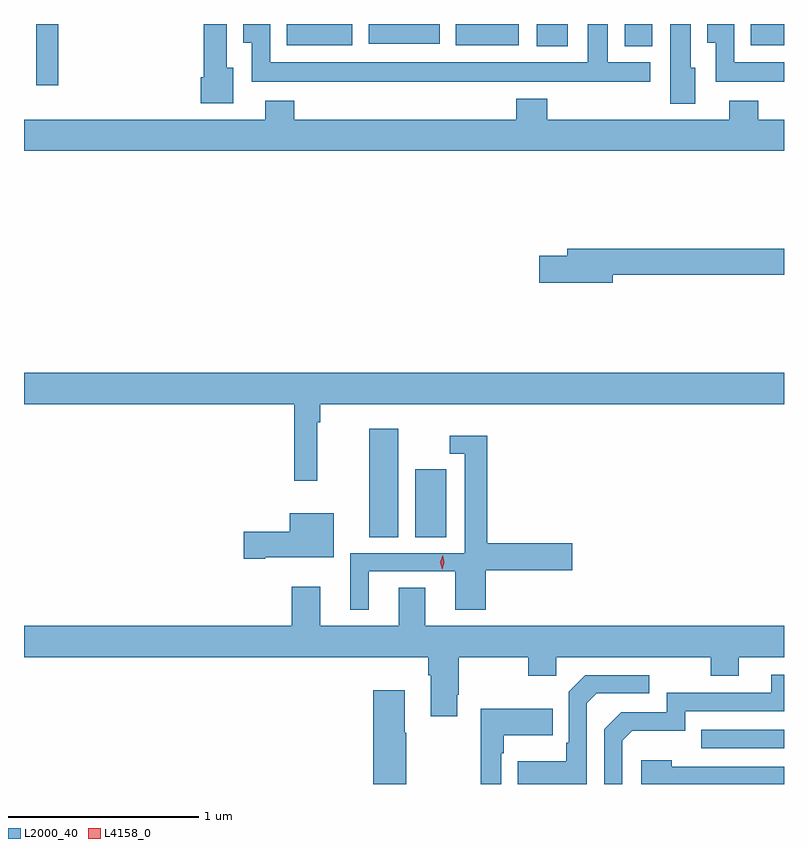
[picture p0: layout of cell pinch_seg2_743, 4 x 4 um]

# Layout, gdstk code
import gdstk
lib = gdstk.Library(unit=1e-6, precision=1e-09)
def R(c, l, rs):  # rectangles x0, y0, x1, y1
    for r in rs: c.add(gdstk.rectangle(r[:2], r[2:], *l))
def P(c, l, *ps):  # polygons
    for p in ps: c.add(gdstk.Polygon(p, *l))
L2000_40 = (2000, 40)
L4158_0 = (4158, 0)

pinch_seg2_743 = lib.new_cell('pinch_seg2_743')
R(pinch_seg2_743, L2000_40, [(881.029,629.841,881.465,629.937), (879.281,630.952,879.436,631.522), (879.524,630.952,879.688,631.309), (877.53,633.33,877.646,633.652), (880.163,633.536,880.327,633.652), (880.628,633.536,880.771,633.652), (878.849,633.539,879.193,633.652), (879.737,633.539,880.069,633.652), (881.291,633.539,881.465,633.652), (879.279,633.548,879.652,633.652)])
P(pinch_seg2_743, L2000_40, [(880.999,633.423),(880.975,633.423),(880.975,633.652),(880.865,633.652),(880.865,633.233),(880.999,633.233)],
  [(881.465,633.451),(881.202,633.451),(881.202,633.652),(881.06,633.652),(881.06,633.553),(881.105,633.553),(881.105,633.347),(881.465,633.347)],
  [(880.762,633.451),(880.537,633.451),(880.537,633.652),(880.433,633.652),(880.433,633.451),(878.76,633.451),(878.76,633.652),(878.618,633.652),(878.618,633.553),(878.663,633.553),(878.663,633.347),(880.762,633.347)],
  [(878.566,633.423),(878.533,633.423),(878.533,633.652),(878.411,633.652),(878.411,633.372),(878.396,633.372),(878.396,633.236),(878.566,633.236)],
  [(881.465,633.148),(881.33,633.148),(881.33,633.247),(881.177,633.247),(881.177,633.148),(880.22,633.148),(880.22,633.259),(880.055,633.259),(880.055,633.148),(878.888,633.148),(878.888,633.247),(878.735,633.247),(878.735,633.148),(877.465,633.148),(877.465,632.984),(881.465,632.984)],
  [(880.564,632.332),(881.465,632.332),(881.465,632.468),(880.325,632.468),(880.325,632.432),(880.176,632.432),(880.176,632.29),(880.564,632.29)],
  [(879.008,631.556),(879.023,631.556),(879.023,631.652),(881.465,631.652),(881.465,631.816),(877.465,631.816),(877.465,631.652),(878.887,631.652),(878.887,631.248),(879.008,631.248)],
  [(879.28,630.771),(879.734,630.771),(879.734,630.57),(879.896,630.57),(879.896,630.778),(880.351,630.778),(880.351,630.92),(879.902,630.92),(879.902,631.486),(879.705,631.486),(879.705,631.389),(879.786,631.389),(879.786,630.867),(879.182,630.867),(879.182,630.57),(879.28,630.57)],
  [(878.734,630.845),(879.094,630.845),(879.094,631.078),(878.864,631.078),(878.864,630.98),(878.622,630.98),(878.622,630.838),(878.734,630.838)],
  [(879.745,630.121),(879.753,630.121),(879.753,630.32),(880.12,630.32),(880.12,630.221),(880.266,630.221),(880.266,630.32),(881.08,630.32),(881.08,630.221),(881.227,630.221),(881.227,630.32),(881.465,630.32),(881.465,630.484),(879.577,630.484),(879.577,630.686),(879.437,630.686),(879.437,630.484),(879.025,630.484),(879.025,630.691),(878.873,630.691),(878.873,630.484),(877.465,630.484),(877.465,630.32),(879.593,630.32),(879.593,630.224),(879.605,630.224),(879.605,630.009),(879.745,630.009)],
  [(880.614,629.88),(880.667,629.933),(880.944,629.933),(880.944,630.036),(881.465,630.036),(881.465,630.228),(881.399,630.228),(881.399,630.132),(880.848,630.132),(880.848,630.03),(880.608,630.03),(880.518,629.94),(880.518,629.652),(880.614,629.652)],
  [(880.428,630.078),(880.479,630.129),(880.756,630.129),(880.756,630.225),(880.419,630.225),(880.332,630.138),(880.332,629.869),(880.32,629.869),(880.32,629.773),(880.063,629.773),(880.063,629.652),(880.428,629.652)],
  [(879.477,629.921),(879.469,629.921),(879.469,630.145),(879.302,630.145),(879.302,629.652),(879.477,629.652)],
  [(879.978,629.813),(879.991,629.813),(879.991,629.909),(880.247,629.909),(880.247,630.049),(879.87,630.049),(879.87,629.652),(879.978,629.652)],
  [(881.465,629.742),(880.874,629.742),(880.874,629.776),(880.713,629.776),(880.713,629.652),(881.465,629.652)])
P(pinch_seg2_743, L4158_0, [(879.666,630.783),(879.666,630.783),(879.657,630.819),(879.669,630.855),(879.669,630.855),(879.669,630.855),(879.677,630.818),(879.666,630.783)])

lib.write_gds('pinch_seg2_743.gds')
